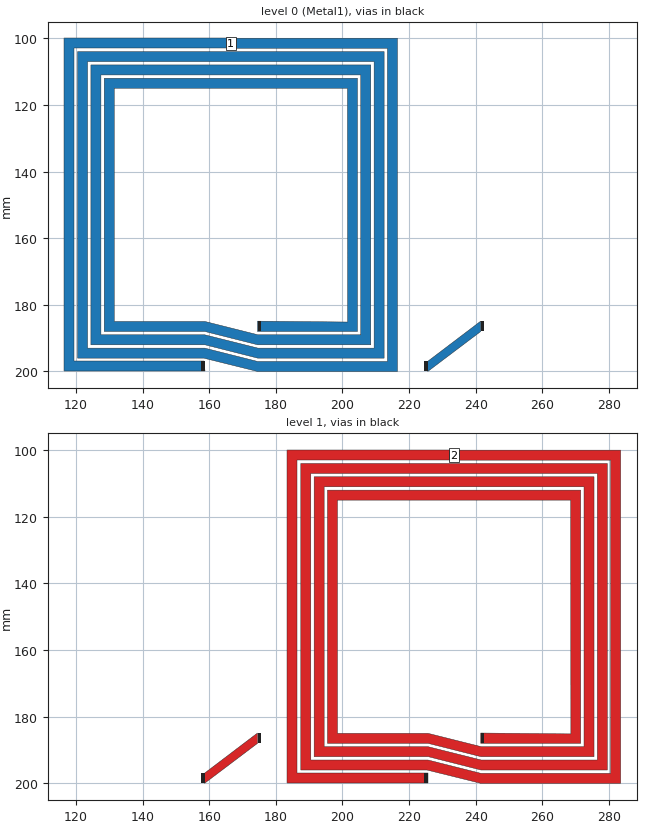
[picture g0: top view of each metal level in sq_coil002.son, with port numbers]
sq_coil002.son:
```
FTYP SONPROJ 19 ! Sonnet Project File
VER 18.53
HEADER
LIC SL638db93e
DAT 12/10/2022 22:51:52
BUILT_BY_CREATED xgeom 18.53-Lite 12/10/2022 14:39:05
BUILT_BY_SAVED sonnet 18.53-Lite
MDATE 12/10/2022 22:51:52
HDATE 12/10/2022 22:51:52
END HEADER
DIM
ANG DEG
CAP PF
CON /OH
FREQ GHZ
IND NH
LNG MM
RES OH
END DIM
CONTROL
VARSWP
OPTIONS  -d
SPEED 0
CACHE_ABS 2
Q_ACC N
END CONTROL
GEO
TMET "Lossless" 0 SUP 0 0 0 0
BMET "Lossless" 0 SUP 0 0 0 0
BOX 2 400 300 800 600 20 0
      300 1 1 0 0 0 0 "Air"
      1.6 4.4 1 0.02 0 0 0 "FR4"
      300 1 1 0 0 0 0 "AIR"
TECHLAY METAL Metal1 <UNSPECIFIED> -2 -65534 
0 0 -1 N 83 1 1 100 100 0 0 0 Y
END
END
LORGN 0 6.35 U 
POR1 GAP
POLY 74 1
3
1 50 0 0 0 166.5 101.5 
POR1 GAP
POLY 110 1
3
2 50 0 0 0 233.5 101.5 
NUM 14
0 45 -1 N 73 1 1 100 100 0 0 0 Y
TLAYNAM Metal1 INH
216.5 100
166.5 100
166.5 103
213.5 103
213.5 197
174.5277378 197
158.6624125 193
123.5 193
123.5 107
209.5 107
209.5 193
174.6414677 193
158.6624125 189
127.5 189
127.5 111
205.5 111
205.5 189
174.6414677 189
158.7192775 185
131.5 185
131.5 115
201.5 115
201.5559248 185.1662128
174.5 184.8998802
174.5 188
204.5 188
204.5 112
128.5 112
128.5 188
158.7192775 188
174.5846027 192
208.5 192
208.5 108
124.5 108
124.5 192
158.7761424 192
174.5846027 196
212.5 196
212.5 104
120.5 104
120.5 196
158.3780877 196
174.5277378 200
216.5 200
216.5 100
END
0 9 -1 N 74 1 1 100 100 0 0 0 Y
TLAYNAM Metal1 INH
158.5486826 197
119.5 197
119.5 103
166.5 103
166.5 100
116.5 100
116.5 200
158.6055476 200
158.5486826 197
END
VIA POLYGON
0 5 -1 N 62 1 1 100 100 0 0 0 Y
TOLEVEL 1 RING NOCOVERS
174.5 185
175.5 185
175.5 188
174.5 188
174.5 185
END
VIA POLYGON
0 5 -1 N 63 1 1 100 100 0 0 0 Y
TOLEVEL 1 RING NOCOVERS
157.5 197
158.6055476 197
158.6055476 200
157.5 200
157.5 197
END
0 5 -1 N 112 1 1 100 100 0 0 0 Y
241.5 184.8998802
225.5486826 197
225.6055476 200
241.5 188
241.5 184.8998802
END
VIA POLYGON
0 5 -1 N 113 1 1 100 100 0 0 0 Y
TOLEVEL 1 RING NOCOVERS
241.5 185
242.5 185
242.5 188
241.5 188
241.5 185
END
VIA POLYGON
0 5 -1 N 114 1 1 100 100 0 0 0 Y
TOLEVEL 1 RING NOCOVERS
224.5 197
225.6055476 197
225.6055476 200
224.5 200
224.5 197
END
1 5 -1 N 61 1 1 100 100 0 0 0 Y
174.5 184.8998802
158.5486826 197
158.6055476 200
174.5 188
174.5 184.8998802
END
1 5 -1 N 64 1 1 100 100 0 0 0 Y
157.5 197
158.5 197
158.5 200
157.5 200
157.5 197
END
1 5 -1 N 65 1 1 100 100 0 0 0 Y
174.5 185
175.5 185
175.5 188
174.5 188
174.5 185
END
1 5 -1 N 100 1 1 100 100 0 0 0 Y
224.5 197
225.5 197
225.5 200
224.5 200
224.5 197
END
1 5 -1 N 101 1 1 100 100 0 0 0 Y
241.5 185
242.5 185
242.5 188
241.5 188
241.5 185
END
1 45 -1 N 108 1 1 100 100 0 0 0 Y
283.5 100
233.5 100
233.5 103
280.5 103
280.5 197
241.5277378 197
225.6624125 193
190.5 193
190.5 107
276.5 107
276.5 193
241.6414677 193
225.6624125 189
194.5 189
194.5 111
272.5 111
272.5 189
241.6414677 189
225.7192775 185
198.5 185
198.5 115
268.5 115
268.5559248 185.1662128
241.5 184.8998802
241.5 188
271.5 188
271.5 112
195.5 112
195.5 188
225.7192775 188
241.5846027 192
275.5 192
275.5 108
191.5 108
191.5 192
225.7761424 192
241.5846027 196
279.5 196
279.5 104
187.5 104
187.5 196
225.3780877 196
241.5277378 200
283.5 200
283.5 100
END
1 9 -1 N 110 1 1 100 100 0 0 0 Y
225.5486826 197
186.5 197
186.5 103
233.5 103
233.5 100
183.5 100
183.5 200
225.6055476 200
225.5486826 197
END
END GEO
OPT
MAX 100
END OPT
VARSWP
ENABLED Y
FREQ N AY ABS_ENTRY UNK 
FREQ N AN STEP 0.0135
FREQ Y AN SWEEP 0.013 0.014 0.001
END
END VARSWP
FILEOUT
TOUCH D Y $BASENAME.s2p IC 15 S RI R 50.00000
FOLDER .
END FILEOUT
```
